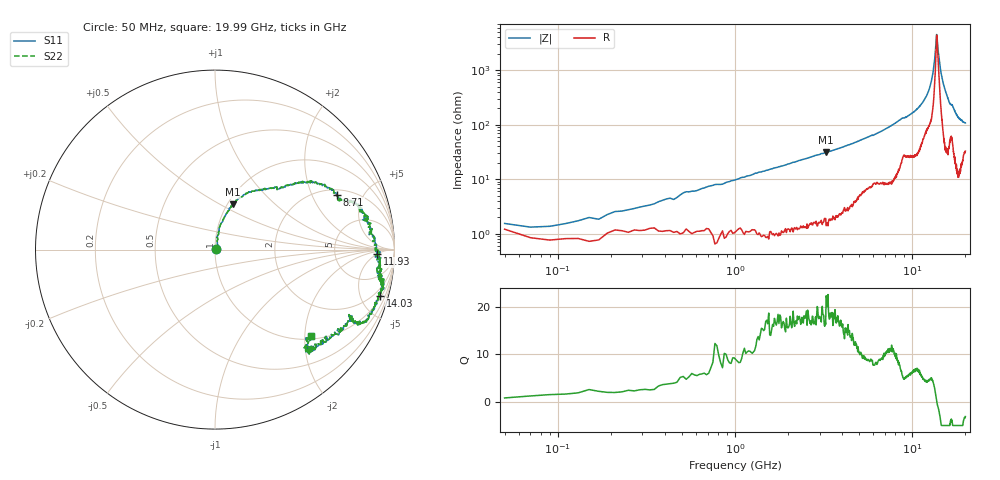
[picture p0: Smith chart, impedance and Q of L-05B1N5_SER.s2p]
! Data Taken on a HP 8720C VNA using a series-through fixture with TRL* de-embedding
#	mhz	s	ma	r	50
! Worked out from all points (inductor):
!   998 points, 50 MHz to 19.99 GHz, reference 50 ohm
!   read as one part in series: L = 1.62 nH near 370 MHz
!   highest Q = 18.6 at 3.27 GHz (marker M1), where L = 1.52 nH
!   self-resonance near 13.78 GHz
!   S11 on the Smith chart (normalised r, x): 50 MHz: 1.01, +0.00; 8.71 GHz: 2.27, +3.13; 11.93 GHz: 19, -5; 14.03 GHz: 1.24, -7.09; 19.99 GHz: 1.06, -2.15
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50  0.00684 15.3  0.9827 -1.0  0.9827 -1.0  0.00684 15.3
170  0.01613 54.3  0.9938 -1.1  0.9938 -1.1  0.01613 54.3
310  0.02697 60.7  0.9891 -2.0  0.9891 -2.0  0.02697 60.7
730  0.06779 78.7  0.9848 -4.6  0.9848 -4.6  0.06779 78.7
1710  0.1399 77.9  0.9744 -10.3  0.9744 -10.3  0.1399 77.9
3270  0.2701 68.8  0.9465 -18.9  0.9465 -18.9  0.2701 68.8
3390  0.2757 68.1  0.939 -19.3  0.939 -19.3  0.2757 68.1
6710  0.5528 40.9  0.8042 -40.6  0.8042 -40.6  0.5528 40.9
8710  0.7466 24.2  0.6202 -55.3  0.6202 -55.3  0.7466 24.2
10030  0.8122 19.2  0.5193 -60.4  0.5193 -60.4  0.8122 19.2
10930  0.8642 12.6  0.424 -67.5  0.424 -67.5  0.8642 12.6
11930  0.9055 -1.6  0.2916 -77.6  0.2916 -77.6  0.9055 -1.6
12750  0.9365 -9.0  0.1629 -87.0  0.1629 -87.0  0.9365 -9.0
13350  0.9583 -12.1  0.0686 -84.1  0.0686 -84.1  0.9583 -12.1
13750  0.9505 -13.6  0.02075 -26.2  0.02075 -26.2  0.9505 -13.6
14030  0.954 -15.6  0.04109 35.2  0.04109 35.2  0.954 -15.6
14510  0.9443 -19.0  0.0947 58.2  0.0947 58.2  0.9443 -19.0
15050  0.9371 -23.7  0.166 60.4  0.166 60.4  0.9371 -23.7
16090  0.8781 -27.2  0.312 55.5  0.312 55.5  0.8781 -27.2
16670  0.8302 -25.9  0.3487 49.8  0.3487 49.8  0.8302 -25.9
18350  0.7832 -45.0  0.5386 40.3  0.5386 40.3  0.7832 -45.0
19990  0.7218 -42.1  0.6127 29.1  0.6127 29.1  0.7218 -42.1
